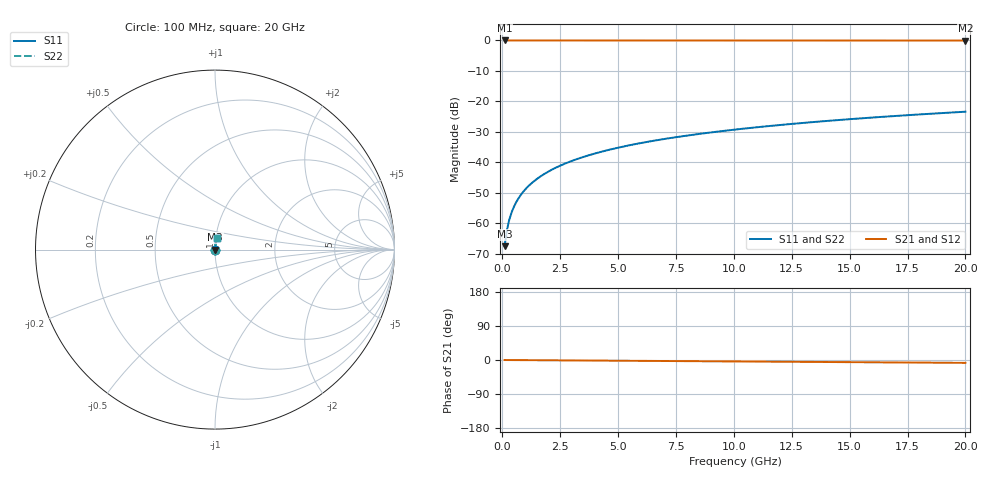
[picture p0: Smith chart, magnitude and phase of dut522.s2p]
! Touchstone file exported from HFSS 2026.1.0
!  File:  C:/ffzhzh/LocalFiles/Ansys_Project_Files/temp_train_TSV_522_1783023544_4048.aedt
!  Generated:  04:21:08 AM Jul  3, 2026
!  Design:  TSV
!  Project:  temp_train_TSV_522_1783023544_4048
! Variables:
!  h_bsmrdl = 2um
!  h_ox = 20um
!  h_rdl = 5um
!  h_sub = 56.6um
!  h_tmrdl = 5um
!  h_tsv = 56.6um
!  h_via = 3um
!  l_bsmrdl = 300um
!  l_sub = 412.9um
!  l_tmrdl = 200um
!  m_sub = 200um
!  pitch = 56.27um
!  r_tsv = 6.45um
!  s_tmrdl = 10um
!  w_bsmrdl = 18um
!  w_sub = 500um
!  w_tmrdl = 12um
!  x_tsv_center1 = 206um
!  x_tsv_center2 = 524um
!  x_tsv_center3 = 736um
!  x_tsv_center4 = 1054um
!  x_tsv_center5 = 1266um
!  x_tsv_center6 = 1584um
# GHz S MA R 50.000000
! Terminal data exported
! Port[1] = TSV1_1_T1
! Port[2] = TSV1_1_T2
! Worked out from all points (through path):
!   200 points, 100 MHz to 20 GHz, reference 50 ohm
!   highest |S21| = 0.00 dB at 100 MHz (marker M1); lowest = 0.0 dB at 20 GHz (marker M2)
!   group delay of S21, straight-line fit = 1.05 ps
!   lowest |S11| = -67.6 dB at 100 MHz (marker M3), VSWR 1.00, Z = 50 + j0.0372 ohm
!   |S11| at or under -10 dB: start of sweep to end of sweep
!   |S22| runs from -67.6 to -23.4 dB; largest |S21 - S12| = 3.5e-15
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0.1  0.0004181 62.9  0.9998 -0.0  0.9998 -0.0  0.0004181 62.9
! Gamma 0 0 0 0
! Port Impedance 50 0 50 0
0.2  0.0007689 75.0  0.9998 -0.1  0.9998 -0.1  0.0007689 75.0
0.3  0.00113 79.1  0.9998 -0.1  0.9998 -0.1  0.00113 79.1
0.4  0.001491 81.2  0.9998 -0.2  0.9998 -0.2  0.001491 81.2
0.5  0.001849 82.3  0.9998 -0.2  0.9998 -0.2  0.001849 82.3
0.6  0.002205 83.0  0.9997 -0.2  0.9997 -0.2  0.002205 83.0
0.7  0.002558 83.6  0.9997 -0.3  0.9997 -0.3  0.002558 83.6
0.8  0.002908 84.0  0.9997 -0.3  0.9997 -0.3  0.002908 84.0
1  0.003605 84.6  0.9997 -0.4  0.9997 -0.4  0.003605 84.6
1.4  0.004989 85.3  0.9996 -0.5  0.9996 -0.5  0.004989 85.3
1.7  0.006024 85.6  0.9996 -0.7  0.9996 -0.7  0.006024 85.6
2  0.007058 85.9  0.9996 -0.8  0.9996 -0.8  0.007058 85.9
2.7  0.009466 86.1  0.9995 -1.0  0.9995 -1.0  0.009466 86.1
3.5  0.01221 86.2  0.9994 -1.3  0.9994 -1.3  0.01221 86.2
4.2  0.0146 86.1  0.9993 -1.6  0.9993 -1.6  0.0146 86.1
5  0.01732 86.0  0.9992 -1.9  0.9992 -1.9  0.01732 86.0
6.8  0.02342 85.6  0.999 -2.6  0.999 -2.6  0.02342 85.6
8.3  0.02848 85.2  0.9988 -3.2  0.9988 -3.2  0.02848 85.2
10.1  0.03453 84.6  0.9985 -3.8  0.9985 -3.8  0.03453 84.6
13.4  0.0456 83.6  0.9979 -5.1  0.9979 -5.1  0.0456 83.6
16.7  0.0566 82.5  0.9972 -6.3  0.9972 -6.3  0.0566 82.5
20  0.06753 81.3  0.9964 -7.6  0.9964 -7.6  0.06753 81.3
